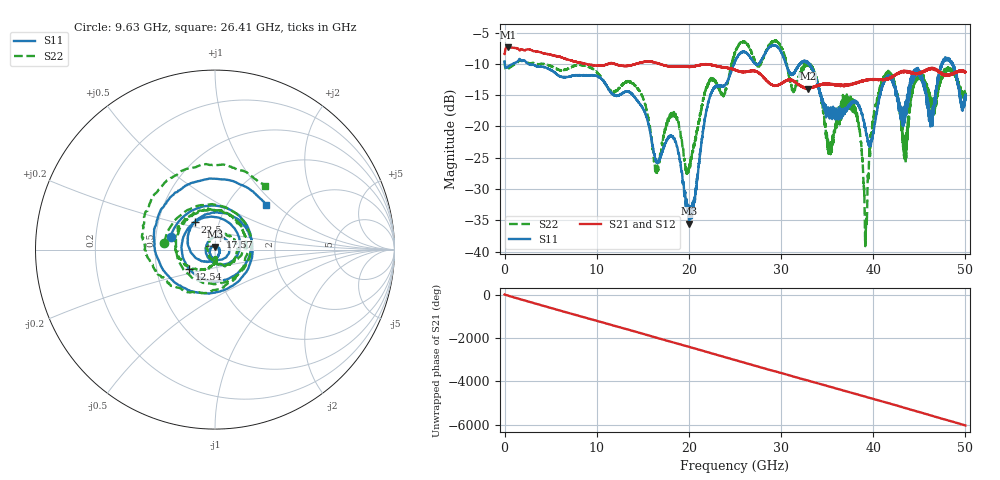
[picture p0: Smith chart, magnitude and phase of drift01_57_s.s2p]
!Created with skrf (http://scikit-rf.org).
# Hz S RI R 50.0
!freq ReS11 ImS11 ReS21 ImS21 ReS12 ImS12 ReS22 ImS22
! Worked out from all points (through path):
!   10001 points, 300 kHz to 50 GHz, reference 50 ohm
!   highest |S21| = -7.33 dB at 360.3 MHz (marker M1); lowest = -14.0 dB at 32.9 GHz (marker M2)
!   group delay of S21, straight-line fit = 335 ps
!   lowest |S11| = -35.5 dB at 20.01 GHz (marker M3), VSWR 1.03, Z = 50 + j1.67 ohm
!   |S11| at or under -10 dB: 2.554 GHz to 24.9 GHz (22.35 GHz wide, 163 % of centre); 30.53 GHz to 32.04 GHz (1.508 GHz wide, 4.82 % of centre); 33.05 GHz to 47.44 GHz (14.39 GHz wide, 35.7 % of centre) (the widest 3 of 17)
!   |S22| runs from -39.1 to -6.3 dB; largest |S21 - S12| = 0.0096
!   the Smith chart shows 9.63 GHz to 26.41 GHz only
!   S11 on the Smith chart (normalised r, x): 9.63 GHz: 0.60, +0.09; 12.54 GHz: 0.73, -0.16; 17.57 GHz: 1.05, +0.15; 22.5 GHz: 0.77, +0.25; 26.41 GHz: 1.49, +0.87
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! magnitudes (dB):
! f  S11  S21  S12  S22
! 300 kHz  -9.6  -8.4  -8.5  -9.5
! 360.3 MHz  -10.5  -7.3  -7.3  -10.8
! 8.335 GHz  -11.8  -9.8  -9.8  -10.2
! 9.63 GHz  -11.8  -10.2  -10.2  -10.9
! 12.54 GHz  -14.9  -10.3  -10.3  -13.6
! 16.67 GHz  -25.8  -9.9  -9.9  -26.9
! 17.57 GHz  -22.2  -10.3  -10.3  -19.5
! 20.01 GHz  -35.5  -10.5  -10.5  -26.6
! 22.5 GHz  -14.4  -10.2  -10.2  -12.6
! 25 GHz  -9.6  -11.0  -11.0  -8.3
! 26.41 GHz  -8.5  -11.2  -11.2  -6.9
! 32.9 GHz  -9.8  -14.0  -13.8  -9.8
! 33.34 GHz  -10.8  -13.8  -13.8  -10.5
! 35.27 GHz  -18.1  -13.2  -13.2  -23.2
! 38 GHz  -16.1  -13.1  -13.2  -17.6
! 39.17 GHz  -20.4  -12.6  -12.6  -38.5
! 40.11 GHz  -20.1  -12.5  -12.5  -18.0
! 41.67 GHz  -11.9  -12.3  -12.3  -12.1
! 43.43 GHz  -18.4  -11.3  -11.3  -23.6
! 44.88 GHz  -10.8  -11.5  -11.6  -12.1
! 46.23 GHz  -18.9  -10.8  -10.7  -15.8
! 50 GHz  -15.8  -11.3  -11.3  -15.0
